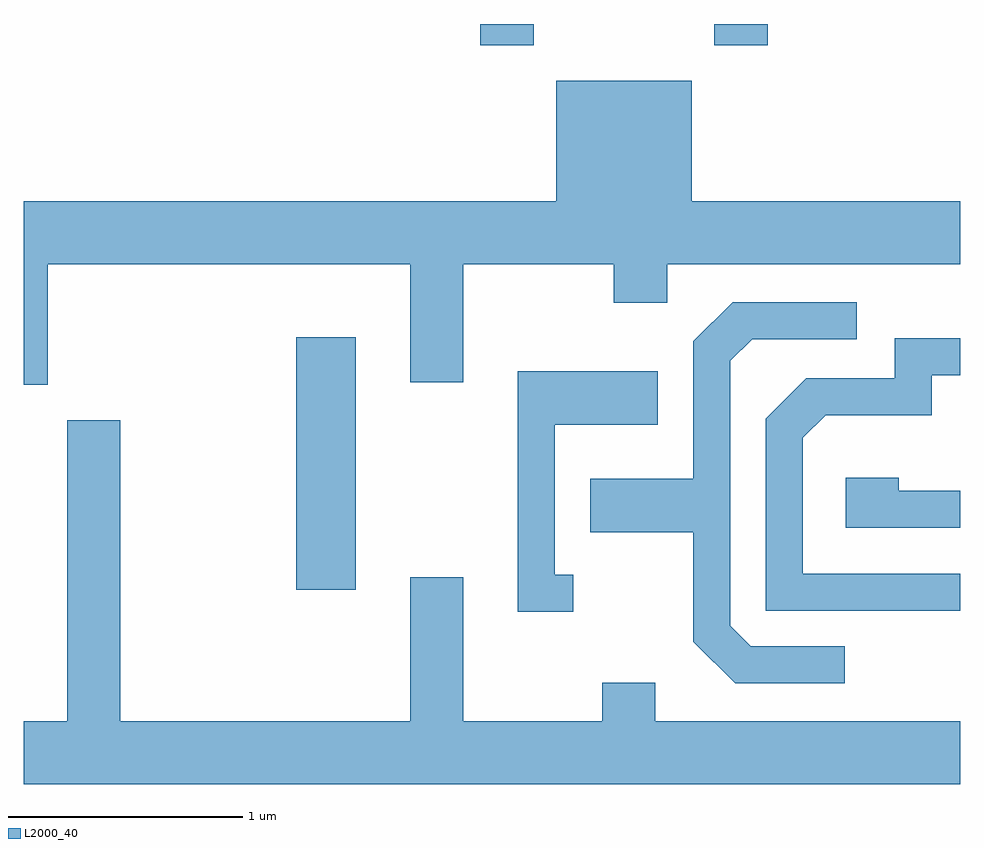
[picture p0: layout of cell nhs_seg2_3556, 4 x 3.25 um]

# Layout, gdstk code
import gdstk
lib = gdstk.Library(unit=1e-6, precision=1e-09)
def R(c, l, rs):  # rectangles x0, y0, x1, y1
    for r in rs: c.add(gdstk.rectangle(r[:2], r[2:], *l))
def P(c, l, *ps):  # polygons
    for p in ps: c.add(gdstk.Polygon(p, *l))
L2000_40 = (2000, 40)

nhs_seg2_3556 = lib.new_cell('nhs_seg2_3556')
R(nhs_seg2_3556, L2000_40, [(290.776,1031.386,291.029,1032.464), (291.561,1033.711,291.789,1033.802), (292.561,1033.711,292.789,1033.802)])
P(nhs_seg2_3556, L2000_40, [(291.886,1033.044),(289.611,1033.044),(289.611,1032.261),(289.714,1032.261),(289.714,1032.776),(291.261,1032.776),(291.261,1032.271),(291.489,1032.271),(291.489,1032.776),(292.131,1032.776),(292.131,1032.611),(292.359,1032.611),(292.359,1032.776),(293.611,1032.776),(293.611,1033.044),(292.464,1033.044),(292.464,1033.559),(291.886,1033.559)],
  [(293.118,1031.144),(292.717,1031.144),(292.629,1031.232),(292.629,1032.363),(292.722,1032.456),(293.168,1032.456),(293.168,1032.614),(292.639,1032.614),(292.471,1032.447),(292.471,1031.859),(292.031,1031.859),(292.031,1031.631),(292.471,1031.631),(292.471,1031.164),(292.649,1030.986),(293.118,1030.986)],
  [(293.611,1031.454),(292.939,1031.454),(292.939,1032.034),(293.037,1032.131),(293.489,1032.131),(293.489,1032.301),(293.611,1032.301),(293.611,1032.459),(293.331,1032.459),(293.331,1032.289),(292.954,1032.289),(292.781,1032.117),(292.781,1031.296),(293.611,1031.296)],
  [(291.958,1031.449),(291.879,1031.449),(291.879,1032.091),(292.319,1032.091),(292.319,1032.319),(291.721,1032.319),(291.721,1031.291),(291.958,1031.291)],
  [(293.611,1030.824),(292.309,1030.824),(292.309,1030.989),(292.081,1030.989),(292.081,1030.824),(291.489,1030.824),(291.489,1031.439),(291.261,1031.439),(291.261,1030.824),(290.024,1030.824),(290.024,1032.109),(289.796,1032.109),(289.796,1030.824),(289.611,1030.824),(289.611,1030.556),(293.611,1030.556)],
  [(293.611,1031.809),(293.349,1031.809),(293.349,1031.864),(293.121,1031.864),(293.121,1031.651),(293.611,1031.651)])

lib.write_gds('nhs_seg2_3556.gds')
